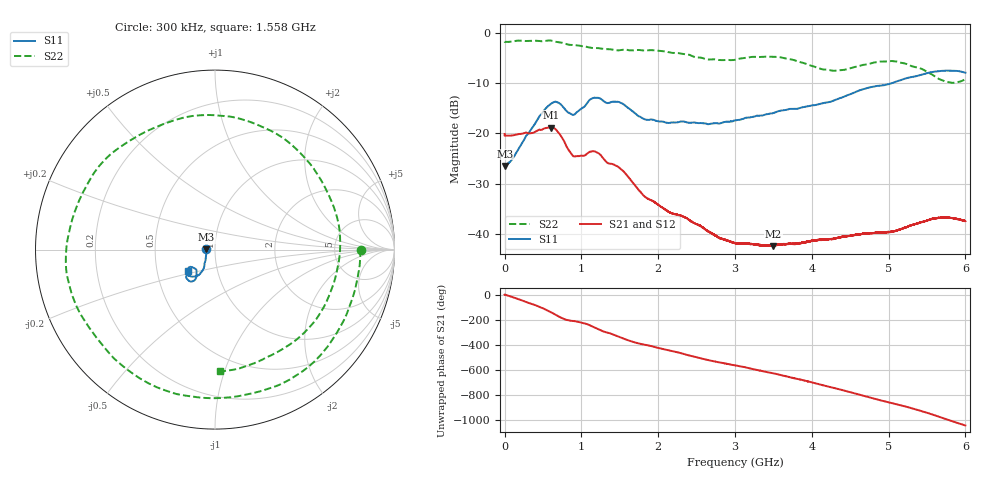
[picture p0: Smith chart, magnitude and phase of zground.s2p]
!  8/6/2020  01:19:22
! Ref Plane: 0.000 mm
# MHZ S MA R  50
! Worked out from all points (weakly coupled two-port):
!   10001 points, 300 kHz to 6 GHz, reference 50 ohm
!   highest |S21| = -18.82 dB at 602.1 MHz (marker M1); lowest = -42.4 dB at 3.497 GHz (marker M2)
!   lowest |S11| = -26.4 dB at 900 kHz (marker M3), VSWR 1.10, Z = 45.5 + j0.0758 ohm
!   |S11| at or under -10 dB: start of sweep to 5.046 GHz
!   |S22| runs from -10.0 to -1.5 dB; largest |S21 - S12| = 0.0022
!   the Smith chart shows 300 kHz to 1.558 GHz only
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0.3  0.0479 178.5  0.09879 -1.1  0.09666 -0.8  0.8161 -0.3
0.9  0.04766 179.0  0.09488 -0.5  0.09543 -0.3  0.8105 -0.5
308.0846  0.09983 -126.2  0.1001 -66.4  0.1003 -66.4  0.8276 -89.4
602.0699  0.1965 -129.7  0.1145 -140.7  0.1146 -140.7  0.8358 -173.6
805.4597  0.1667 -144.9  0.07454 157.7  0.07472 157.7  0.769 127.1
1000.45  0.1763 -125.7  0.06 135.3  0.05995 135.3  0.7369 73.5
1256.037  0.22 -136.9  0.06037 72.5  0.06042 72.5  0.6962 -1.1
1544.623  0.1958 -140.3  0.04237 9.2  0.04246 9.1  0.678 -84.0
1787.611  0.1429 -133.7  0.02536 -36.6  0.02533 -36.4  0.6688 -150.2
2000.6  0.132 -121.5  0.01959 -66.4  0.0196 -66.4  0.6624 153.8
2260.987  0.1294 -106.1  0.0155 -102.2  0.01554 -102.4  0.6278 85.3
2541.773  0.1268 -93.4  0.0122 -147.2  0.0122 -147.3  0.5667 6.7
2781.161  0.1252 -79.1  0.009306 179.9  0.009306 -179.8  0.5373 -65.1
3000.15  0.1344 -67.1  0.008124 154.4  0.008144 154.8  0.5377 -130.6
3230.539  0.146 -57.8  0.008002 124.8  0.007971 125.3  0.5751 167.0
3496.925  0.1591 -46.1  0.007611 90.8  0.007663 90.9  0.5763 100.5
4000.3  0.1891 -28.4  0.008608 18.8  0.008658 19.4  0.4679 -29.9
4225.289  0.2052 -19.3  0.008918 -16.5  0.008909 -16.5  0.426 -99.7
4493.475  0.244 -10.7  0.009601 -58.5  0.009653 -58.8  0.442 176.2
5000.45  0.3084 -5.4  0.01054 -140.6  0.01048 -140.3  0.5199 47.1
5511.025  0.3996 -5.5  0.01375 133.9  0.01376 133.7  0.4036 -76.1
6000  0.401 -18.1  0.01349 34.9  0.0135 34.9  0.3467 121.7
